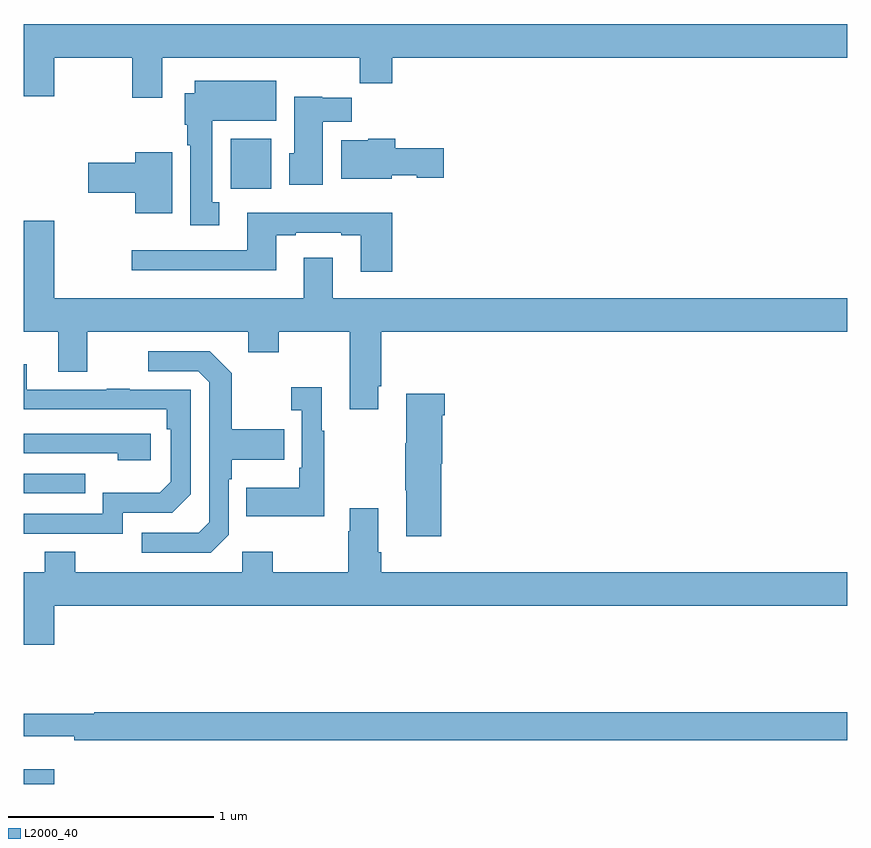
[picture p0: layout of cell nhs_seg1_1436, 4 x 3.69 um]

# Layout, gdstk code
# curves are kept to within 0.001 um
import gdstk
lib = gdstk.Library(unit=1e-6, precision=1e-09)
def R(c, l, rs):  # rectangles x0, y0, x1, y1
    for r in rs: c.add(gdstk.rectangle(r[:2], r[2:], *l))
def P(c, l, *ps):  # polygons
    for p in ps: c.add(gdstk.Polygon(p, *l))
L2000_40 = (2000, 40)

nhs_seg1_1436 = lib.new_cell('nhs_seg1_1436')
R(nhs_seg1_1436, L2000_40, [(189,552.199,189.148,552.271), (189,553.611,189.299,553.707), (190.004,555.092,190.201,555.334)])
P(nhs_seg1_1436, L2000_40, [(189.673,555.728),(190.633,555.728),(190.633,555.604),(190.79,555.604),(190.79,555.728),(193,555.728),(193,555.892),(189,555.892),(189,555.54),(189.148,555.54),(189.148,555.728),(189.526,555.728),(189.526,555.534),(189.673,555.534)],
  [(189.949,555.026),(189.916,555.026),(189.916,555.422),(190.225,555.422),(190.225,555.616),(189.83,555.616),(189.83,555.556),(189.782,555.556),(189.782,555.402),(189.794,555.402),(189.794,555.302),(189.809,555.302),(189.809,554.913),(189.949,554.913)],
  [(190.453,555.416),(190.592,555.416),(190.592,555.534),(190.449,555.534),(190.449,555.538),(190.313,555.538),(190.313,555.264),(190.289,555.264),(190.289,555.11),(190.453,555.11)],
  [(190.788,555.158),(190.908,555.158),(190.908,555.146),(191.041,555.146),(191.041,555.288),(190.805,555.288),(190.805,555.334),(190.674,555.334),(190.674,555.328),(190.541,555.328),(190.541,555.14),(190.788,555.14)],
  [(189.721,555.268),(189.542,555.268),(189.542,555.218),(189.312,555.218),(189.312,555.071),(189.542,555.071),(189.542,554.972),(189.721,554.972)],
  [(190.79,554.974),(190.085,554.974),(190.085,554.793),(189.525,554.793),(189.525,554.696),(190.225,554.696),(190.225,554.865),(190.321,554.865),(190.321,554.877),(190.541,554.877),(190.541,554.865),(190.637,554.865),(190.637,554.688),(190.79,554.688)],
  [(190.723,554.131),(190.736,554.131),(190.736,554.396),(193,554.396),(193,554.56),(190.501,554.56),(190.501,554.755),(190.361,554.755),(190.361,554.56),(189.148,554.56),(189.148,554.935),(189,554.935),(189,554.396),(189.167,554.396),(189.167,554.202),(189.307,554.202),(189.307,554.396),(190.091,554.396),(190.091,554.297),(190.239,554.297),(190.239,554.396),(190.583,554.396),(190.583,554.019),(190.723,554.019)],
  [(189.996,553.41),(189.996,553.679),(190.009,553.679),(190.009,553.775),(190.265,553.775),(190.265,553.923),(190.009,553.923),(190.009,554.195),(189.903,554.301),(189.603,554.301),(189.603,554.205),(189.846,554.205),(189.9,554.151),(189.9,553.47),(189.849,553.419),(189.573,553.419),(189.573,553.323),(189.909,553.323)],
  [(189.48,553.518),(189.72,553.518),(189.81,553.608),(189.81,554.115),(189.515,554.115),(189.515,554.12),(189.403,554.12),(189.403,554.115),(189.013,554.115),(189.013,554.239),(189,554.239),(189,554.02),(189.694,554.019),(189.694,553.922),(189.714,553.922),(189.714,553.668),(189.661,553.615),(189.384,553.615),(189.384,553.512),(189,553.512),(189,553.416),(189.48,553.416)],
  [(190.459,553.915),(190.447,553.915),(190.447,554.128),(190.299,554.128),(190.299,554.015),(190.35,554.015),(190.35,553.735),(190.338,553.735),(190.338,553.639),(190.081,553.639),(190.081,553.499),(190.459,553.499)],
  [(191.027,553.755),(191.032,553.755),(191.032,553.991),(191.045,553.991),(191.045,554.095),(190.859,554.095),(190.859,553.855),(190.852,553.855),(190.852,553.627),(190.859,553.627),(190.859,553.404),(191.027,553.404)],
  [(189.616,553.902),(189,553.902),(189,553.806),(189.455,553.806),(189.455,553.772),(189.616,553.772)],
  [(189.148,553.064),(193,553.064),(193,553.228),(190.736,553.228),(190.736,553.324),(190.723,553.324),(190.723,553.54),(190.583,553.54),(190.583,553.427),(190.576,553.427),(190.576,553.228),(190.209,553.228),(190.209,553.327),(190.062,553.327),(190.062,553.228),(189.249,553.228),(189.249,553.327),(189.101,553.327),(189.101,553.228),(189,553.228),(189,552.876),(189.148,552.876)],
  [(193,552.548),(189.341,552.548),(189.341,552.541),(189,552.541),(189,552.431),(189.244,552.431),(189.244,552.412),(193,552.412)])

lib.write_gds('nhs_seg1_1436.gds')
